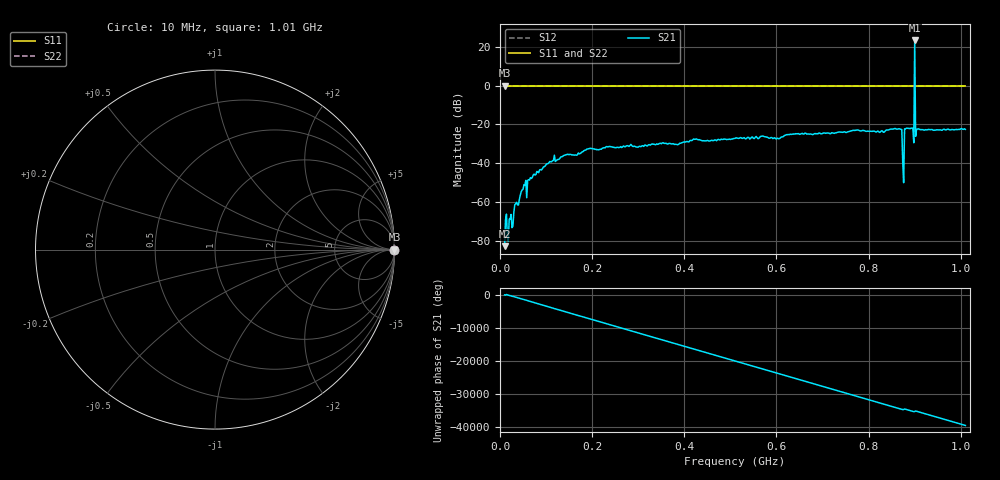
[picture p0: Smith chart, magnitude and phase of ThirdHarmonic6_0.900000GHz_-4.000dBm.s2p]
! 8/16/2025 5:31:01 AM
! C:\ANRITSUVNA\TEMP\TEMP.S2P
! CHANNEL.1
! TR.MEASUREMENT
! RAW.DATA
! RF.CORRECTION.OFF
! AVERAGING.OFF
! IF.BANDWIDTH: 5KHZ
! SWEEPTYPE:  FREQ.SWEEP(Linear)
! Reference Plane Port Info
! PORT:  PORT1  PORT2
! DISTANCE:  0  m  0  m
! TIME:  0  s  0  s
! PHASE.OFFSET:  0  deg.  0  deg.
! LOSS:  0  dB  0  dB
! REF.LOSS:  0  dB  0  dB
! REF.FREQ:  0  Hz  0  Hz
! Power Info
! POWER:  -20  dBm  -20  dBm
! EFF.POWER:  -20  dBm  -20  dBm
! SOURCE.ATTEN:  0  dB  0  dB
! TEST.ATTEN:  0  dB  0  dB
# GHZ S RI R 50.0
! FREQ.GHZ  S11RE  S11IM  S21RE  S21IM  S12RE  S12IM  S22RE  S22IM
!; PortSelection: Port_12
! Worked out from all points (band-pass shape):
!   501 points, 10 MHz to 1.01 GHz, reference 50 ohm
!   highest |S21| = 23.16 dB at 900 MHz (marker M1); lowest = -82.5 dB at 10 MHz (marker M2)
!   |S21| within 3 dB of the highest: 899.8858 MHz to 900.1219 MHz (236.1 kHz wide, 0.0262 % of centre)
!   lowest |S11| = 0.0 dB at 10 MHz (marker M3)
!   |S11| at or under -10 dB: nowhere
!   |S22| runs from 0.0 to 0.0 dB; largest |S21 - S12| = 14
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0.01  1 0  -4.08e-05 -6.3e-05  1 0  1 0
0.026  1 0  -0.000204 -9.52e-05  1 0  1 0
0.034  1 0  2.76e-05 -0.000925  1 0  1 0
0.052  1 0  -0.000149 -0.00286  1 0  1 0
0.062  1 0  -0.00313 -0.00219  1 0  1 0
0.064  1 0  -0.00291 0.00235  1 0  1 0
0.114  1 0  -0.00263 -0.0114  1 0  1 0
0.178  1 0  -0.0191 -0.00501  1 0  1 0
0.344  1 0  0.031 -0.00525  1 0  1 0
0.51  1 0  -0.0425 0.0111  1 0  1 0
0.678  1 0  -0.017 -0.0526  1 0  1 0
0.844  1 0  0.0419 0.06  1 0  1 0
0.868  1 0  -0.0734 0.0224  1 0  1 0
0.872  1 0  0.0739 0.00532  1 0  1 0
0.878  1 0  -0.0417 0.065  1 0  1 0
0.882  1 0  0.0626 -0.05  1 0  1 0
0.894  1 0  -0.0775 -0.0207  1 0  1 0
0.896  1 0  -0.0315 0.0741  1 0  1 0
0.9  1 0  6.177 13  1 0  1 0
0.904  1 0  -0.0648 0.0374  1 0  1 0
0.906  1 0  0.026 0.0718  1 0  1 0
1.01  1 0  -0.0698 -0.0272  1 0  1 0
